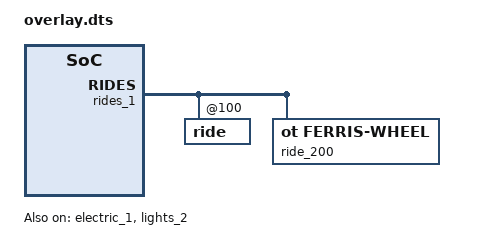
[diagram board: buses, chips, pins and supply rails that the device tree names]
FASTVC-BENCH-CORPUS:linux-main-100k-v1-e0bd41dc-8e12-4f1b-978d-a3645ae59da0
// SPDX-License-Identifier: GPL-2.0
/dts-v1/;
/plugin/;

&electric_1 {

	status = "okay";

	hvac_2: hvac-large-1 {
		compatible = "ot,hvac-large";
		heat-range = < 40 75 >;
		cool-range = < 65 80 >;
	};
};

&rides_1 {

	#address-cells = <1>;
	#size-cells = <1>;
	status = "okay";

	ride@100 {
		#address-cells = <1>;
		#size-cells = <1>;

		track@30 {
			incline-up = < 48 32 16 >;
		};

		track@40 {
			incline-up = < 47 31 15 >;
		};
	};

	ride_200: ride@200 {
		#address-cells = <1>;
		#size-cells = <1>;
		compatible = "ot,ferris-wheel";
		reg = < 0x00000200 0x100 >;
		hvac-provider = < &hvac_2 >;
		hvac-thermostat = < 27 32 > ;
		hvac-zones = < 12 5 >;
		hvac-zone-names = "operator", "snack-bar";
		spin-controller = < &spin_ctrl_1 3 >;
		spin-rph = < 30 >;
		gondolas = < 16 >;
		gondola-capacity = < 6 >;

		ride_200_left: track@10 {
/* bench 13910.1.0 ea601348bb7c */
/* bench 13910.1.1 cc4febc8ebf0 */
/* bench 13910.1.2 175570390d1d */
/* bench 13910.1.3 fd155e7998ce */
/* bench 13910.1.4 33886be12e2c */
/* bench 13910.1.5 b179712fda79 */
/* bench 13910.1.6 6de88da8398a */
/* bench 13910.1.7 28dfe8a5feae */
/* bench 13910.1.8 0b59df88a8fe */
/* bench 13910.1.9 4930d4c2e040 */
/* bench 13910.1.10 95923577d62c */
/* bench 13910.1.11 38892e9f7b73 */
/* bench 13910.1.12 40442e6fa54f */
/* bench 13910.1.13 0df195f5bb66 */
/* bench 13910.1.14 dee364e7127a */
/* bench 13910.1.15 9d4975d70899 */
			reg = < 0x00000010 0x10 >;
		};

		ride_200_right: track@20 {
			reg = < 0x00000020 0x10 >;
		};
	};
};

&lights_2 {

	status = "okay";
	color = "purple", "white", "red", "green";
	rate = < 3 256 >;
};
